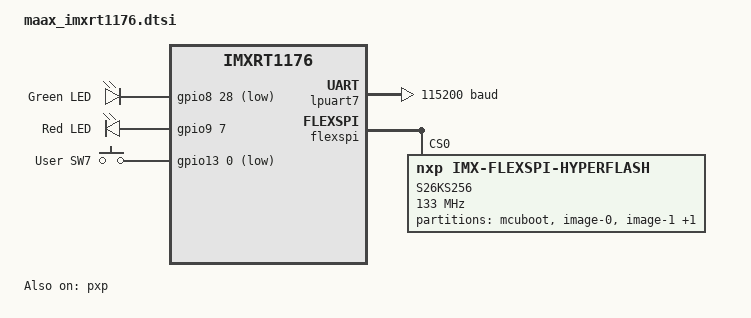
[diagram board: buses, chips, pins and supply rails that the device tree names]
/*
 * Copyright 2026 NXP
 *
 * SPDX-License-Identifier: Apache-2.0
 */

#include "maax_imxrt1176-pinctrl.dtsi"
#include <nxp/nxp_rt1170.dtsi>
#include <zephyr/dt-bindings/input/input-event-codes.h>

/ {
	aliases {
		led0 = &green_led;
		led1 = &red_led;
		sw0 = &user_button;
	};

    chosen {
        zephyr,settings-partition = &storage_partition;
    };

	leds {
		compatible = "gpio-leds";
		green_led: led-1 {
			gpios = <&gpio8 28 GPIO_ACTIVE_LOW>;
			label = "Green LED";
		};

		red_led: led-2 {
			gpios = <&gpio9 7 GPIO_ACTIVE_HIGH>;
			label = "Red LED";
		};
	};

	gpio_keys {
		compatible = "gpio-keys";
		user_button: button-1 {
			label = "User SW7";
			gpios = <&gpio13 0 GPIO_ACTIVE_LOW>;
			zephyr,code = <INPUT_KEY_0>;
		};
	};

};

&lpuart7 {
	status = "okay";
	pinctrl-0 = <&pinmux_lpuart7>;
	pinctrl-1 = <&pinmux_lpuart7_sleep>;
	pinctrl-names = "default", "sleep";
	current-speed = <115200>;
};

&lpuart2 {
	pinctrl-0 = <&pinmux_lpuart2>;
	pinctrl-1 = <&pinmux_lpuart2_sleep>;
	pinctrl-names = "default", "sleep";
};

&lpuart6 {
	pinctrl-0 = <&pinmux_lpuart6>;
	pinctrl-1 = <&pinmux_lpuart6_sleep>;
	pinctrl-names = "default", "sleep";
};

&user_button {
	status = "okay";
};

&green_led {
	status = "okay";
};

&flexcan3 {
	pinctrl-0 = <&pinmux_flexcan3>;
	pinctrl-names = "default";
};

&lpi2c5 {
	pinctrl-0 = <&pinmux_lpi2c5>;
	pinctrl-names = "default";
};

&lpi2c6 {
	pinctrl-0 = <&pinmux_lpi2c6>;
	pinctrl-names = "default";
};

&lpspi2 {
	pinctrl-0 = <&pinmux_lpspi2>;
	pinctrl-names = "default";
};

&lpspi4 {
	pinctrl-0 = <&pinmux_lpspi4>;
	pinctrl-names = "default";
};

&flexspi {
    pinctrl-0 = <&pinmux_flexspi1>;
    pinctrl-names = "default";
    status = "okay";
    ahb-prefetch;
    ahb-read-addr-opt;
    rx-clock-source = <1>;
    reg = <0x400cc000 0x4000>, <0x30000000 DT_SIZE_M(32)>;

    S26KS256: S26KS256@0 {
        compatible = "nxp,imx-flexspi-hyperflash";
        size = <DT_SIZE_M(32*8)>;
        reg = <0>;
        spi-max-frequency = <133000000>;
        status = "okay";
        cs-interval-unit = <1>;
        cs-interval = <2>;
        cs-hold-time = <3>;
        cs-setup-time = <3>;
        data-valid-time = <1>;
        column-space = <3>;
        word-addressable;

        erase-block-size = <DT_SIZE_K(32)>;    /* 0x40000 */
        write-block-size = <2>;

        partitions {
            compatible = "fixed-partitions";
            #address-cells = <1>;
            #size-cells = <1>;

            /* 0x00000000 - 0x0001FFFF */
            boot_partition: partition@0 {
                label = "mcuboot";
                reg = <0x00000000 DT_SIZE_K(128)>;
            };

            /* Align image-0 to 0x40000 */
            /* 0x00040000 - 0x0073FFFF (7 MB) */
            slot0_partition: partition@40000 {
                label = "image-0";
                reg = <0x00040000 DT_SIZE_M(7)>;
            };

            /* Align image-1 to 0x40000 */
            /* 0x00740000 - 0x00E3FFFF (7 MB) */
            slot1_partition: partition@740000 {
                label = "image-1";
                reg = <0x00740000 DT_SIZE_M(7)>;
            };

            /* Align storage to 0x40000 */
            /* 0x00E40000 - 0x00FFFFFF (1.75 MB) */
            storage_partition: partition@E40000 {
                label = "storage";
                reg = <0x00E40000 DT_SIZE_K(32 * 5)>;
            };
        };
    };
};

&pxp {
	status = "okay";
};
